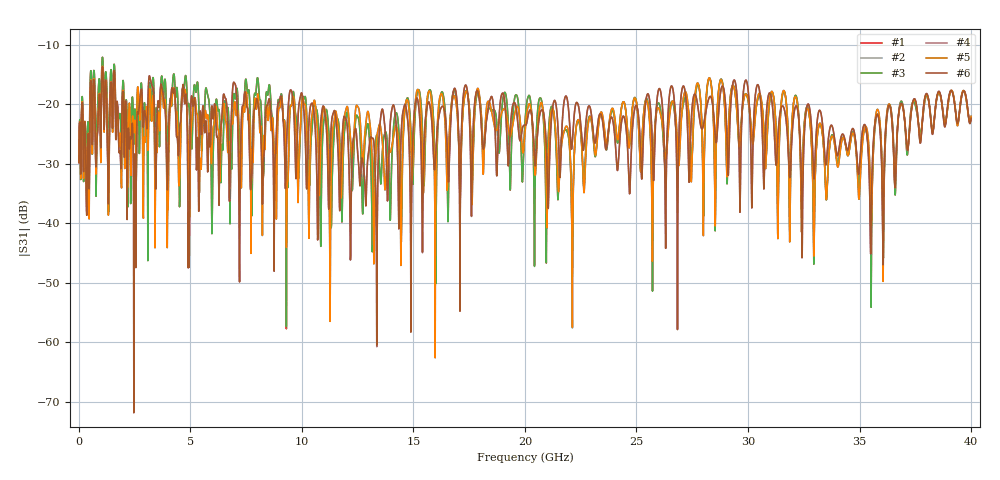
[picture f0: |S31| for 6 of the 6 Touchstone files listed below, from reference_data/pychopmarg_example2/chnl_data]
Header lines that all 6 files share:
! File created by SignalIntegrity v1.2.0: Signal and Power Integrity Tools
! https://github.com/TeledyneLeCroy/SignalIntegrity
# MHz S MA R 50.0
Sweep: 10 MHz to 40 GHz
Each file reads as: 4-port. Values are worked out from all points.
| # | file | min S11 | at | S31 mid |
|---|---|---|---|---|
| 1 | example2_FEXT1.s4p | -60.1 dB | 21.46 GHz | -22.8 dB at 20.01 GHz |
| 2 | example2_FEXT2.s4p | -63.2 dB | 31.15 GHz | -24.5 dB at 20.01 GHz |
| 3 | example2_NEXT1.s4p | -59.8 dB | 21.46 GHz | -22.8 dB at 20.01 GHz |
| 4 | example2_NEXT2.s4p | -60.4 dB | 33.5 GHz | -23.4 dB at 20.01 GHz |
| 5 | example2_NEXT3.s4p | -63.2 dB | 31.15 GHz | -24.6 dB at 20.01 GHz |
| 6 | example2_THRU.s4p | -60.5 dB | 33.5 GHz | -23.5 dB at 20.01 GHz |
